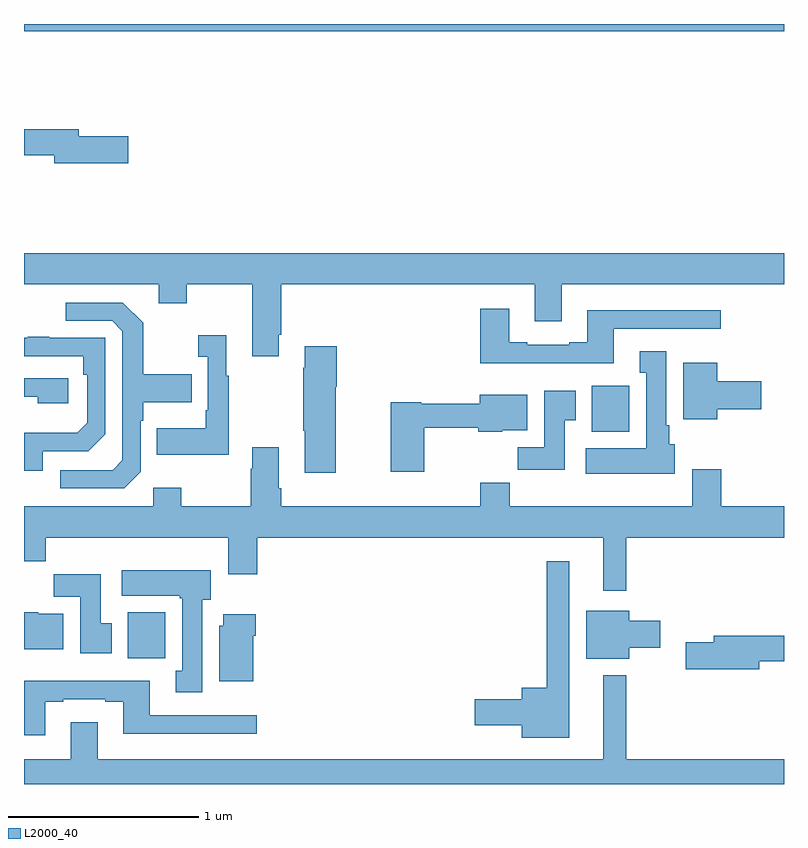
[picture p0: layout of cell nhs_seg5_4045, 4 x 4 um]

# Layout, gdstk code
import gdstk
lib = gdstk.Library(unit=1e-6, precision=1e-09)
def R(c, l, rs):  # rectangles x0, y0, x1, y1
    for r in rs: c.add(gdstk.rectangle(r[:2], r[2:], *l))
def P(c, l, *ps):  # polygons
    for p in ps: c.add(gdstk.Polygon(p, *l))
L2000_40 = (2000, 40)

nhs_seg5_4045 = lib.new_cell('nhs_seg5_4045')
R(nhs_seg5_4045, L2000_40, [(349.547,853.46,349.744,853.702), (351.989,854.654,352.186,854.896), (349,856.76,353,856.799)])
P(nhs_seg5_4045, L2000_40, [(349.549,856.208),(349.288,856.208),(349.288,856.244),(349,856.244),(349,856.108),(349.16,856.108),(349.16,856.066),(349.549,856.066)],
  [(350.341,855.163),(350.354,855.163),(350.354,855.428),(351.689,855.428),(351.689,855.234),(351.829,855.234),(351.829,855.428),(353,855.428),(353,855.592),(349,855.592),(349,855.428),(349.709,855.428),(349.709,855.329),(349.857,855.329),(349.857,855.428),(350.201,855.428),(350.201,855.051),(350.341,855.051)],
  [(349.614,854.442),(349.614,854.711),(349.627,854.711),(349.627,854.807),(349.883,854.807),(349.883,854.955),(349.627,854.955),(349.627,855.227),(349.521,855.333),(349.221,855.333),(349.221,855.237),(349.464,855.237),(349.518,855.183),(349.518,854.502),(349.467,854.451),(349.191,854.451),(349.191,854.355),(349.527,854.355)],
  [(352.105,855.195),(352.666,855.195),(352.666,855.292),(351.965,855.292),(351.965,855.124),(351.869,855.124),(351.869,855.111),(351.649,855.111),(351.649,855.124),(351.553,855.124),(351.553,855.301),(351.401,855.301),(351.401,855.014),(352.105,855.014)],
  [(350.077,854.947),(350.065,854.947),(350.065,855.16),(349.917,855.16),(349.917,855.047),(349.968,855.047),(349.968,854.767),(349.956,854.767),(349.956,854.671),(349.699,854.671),(349.699,854.531),(350.077,854.531)],
  [(349.098,854.55),(349.338,854.55),(349.428,854.64),(349.428,855.147),(349.133,855.147),(349.133,855.152),(349.021,855.152),(349.021,855.147),(349,855.147),(349,855.051),(349.312,855.051),(349.312,854.954),(349.332,854.954),(349.332,854.7),(349.279,854.647),(349.002,854.647),(349.002,854.544),(349,854.544),(349,854.448),(349.098,854.448)],
  [(350.64,854.89),(350.645,854.89),(350.645,855.103),(350.477,855.103),(350.477,854.99),(350.47,854.99),(350.47,854.659),(350.477,854.659),(350.477,854.436),(350.64,854.436)],
  [(352.426,854.586),(352.396,854.586),(352.396,854.686),(352.381,854.686),(352.381,855.076),(352.241,855.076),(352.241,854.963),(352.274,854.963),(352.274,854.566),(351.957,854.566),(351.957,854.432),(352.426,854.432)],
  [(352.648,854.771),(352.879,854.771),(352.879,854.918),(352.648,854.918),(352.648,855.016),(352.469,855.016),(352.469,854.72),(352.648,854.72)],
  [(349.234,854.934),(349,854.934),(349,854.838),(349.073,854.838),(349.073,854.804),(349.234,854.804)],
  [(351.847,854.713),(351.904,854.713),(351.904,854.869),(351.737,854.869),(351.737,854.572),(351.598,854.572),(351.598,854.454),(351.847,854.454)],
  [(351.107,854.673),(351.391,854.673),(351.391,854.654),(351.516,854.654),(351.516,854.66),(351.649,854.66),(351.649,854.848),(351.398,854.848),(351.398,854.801),(351.09,854.801),(351.09,854.809),(350.929,854.809),(350.929,854.442),(351.107,854.442)],
  [(352.171,854.096),(353,854.096),(353,854.26),(352.67,854.26),(352.67,854.455),(352.517,854.455),(352.517,854.26),(351.557,854.26),(351.557,854.384),(351.401,854.384),(351.401,854.26),(350.354,854.26),(350.354,854.356),(350.341,854.356),(350.341,854.572),(350.201,854.572),(350.201,854.459),(350.194,854.459),(350.194,854.26),(349.827,854.26),(349.827,854.359),(349.68,854.359),(349.68,854.26),(349,854.26),(349,853.972),(349.115,853.972),(349.115,854.096),(350.075,854.096),(350.075,853.902),(350.228,853.902),(350.228,854.096),(352.049,854.096),(352.049,853.815),(352.171,853.815)],
  [(351.871,853.972),(351.75,853.972),(351.75,853.306),(351.62,853.306),(351.62,853.244),(351.372,853.244),(351.372,853.109),(351.62,853.109),(351.62,853.043),(351.871,853.043)],
  [(349.939,853.77),(349.984,853.77),(349.984,853.924),(349.515,853.924),(349.515,853.79),(349.819,853.79),(349.819,853.777),(349.832,853.777),(349.832,853.394),(349.799,853.394),(349.799,853.281),(349.939,853.281)],
  [(349.462,853.644),(349.405,853.644),(349.405,853.903),(349.156,853.903),(349.156,853.784),(349.295,853.784),(349.295,853.488),(349.462,853.488)],
  [(352.186,853.517),(352.348,853.517),(352.348,853.659),(352.186,853.659),(352.186,853.711),(351.959,853.711),(351.959,853.457),(352.186,853.457)],
  [(349.207,853.696),(349.074,853.696),(349.074,853.702),(349,853.702),(349,853.508),(349.207,853.508)],
  [(350.206,853.58),(350.219,853.58),(350.219,853.693),(350.048,853.693),(350.048,853.632),(350.027,853.632),(350.027,853.34),(350.206,853.34)],
  [(352.87,853.444),(353,853.444),(353,853.58),(352.631,853.58),(352.631,853.544),(352.482,853.544),(352.482,853.402),(352.87,853.402)],
  [(353,852.928),(352.171,852.928),(352.171,853.372),(352.049,853.372),(352.049,852.928),(349.387,852.928),(349.387,853.123),(349.247,853.123),(349.247,852.928),(349,852.928),(349,852.799),(353,852.799)],
  [(349.111,853.233),(349.207,853.233),(349.207,853.245),(349.427,853.245),(349.427,853.233),(349.523,853.233),(349.523,853.064),(350.224,853.064),(350.224,853.161),(349.663,853.161),(349.663,853.342),(349,853.342),(349,853.056),(349.111,853.056)])

lib.write_gds('nhs_seg5_4045.gds')
